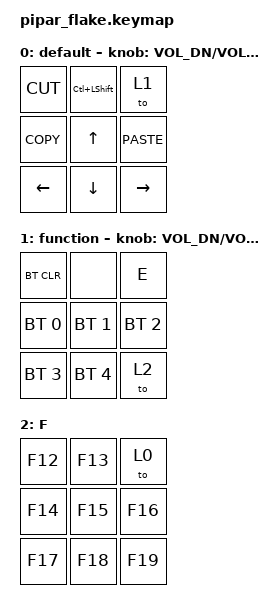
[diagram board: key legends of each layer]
/*
 * Copyright (c) 2022 The ZMK Contributors
 *
 * SPDX-License-Identifier: MIT
 */

#include <behaviors.dtsi>
#include <dt-bindings/zmk/bt.h>
#include <dt-bindings/zmk/keys.h>

#define BASE        0
#define FUNC        1

/ {
    sensors: sensors {
        compatible = "zmk,keymap-sensors";
        sensors = <&encoder_1>;
        triggers-per-rotation = <24>;
    };

    keymap {
        compatible = "zmk,keymap";

        default_layer {
            // ---------------------------//
            // | Q    | W     | ENCODER | //
            // | A    | S     | D       | //
            // | Z    | X     | FN      | //

            display-name = "default";
            bindings = <
&kp K_CUT   &kp LC(LEFT_SHIFT)  &to 1
&kp K_COPY  &kp UP              &kp K_PASTE
&kp LEFT    &kp DOWN            &kp RIGHT
            >;

            sensor-bindings = <&inc_dec_kp C_VOL_DN C_VOL_UP>;
        };

        function_layer {
            // --------------------------- //
            // | BT_CLR | none | ENCODER | //
            // | BT_0   | BT_1 | BT_2    | //
            // | BT_3   | BT_4 | trans   | //

            display-name = "function";
            bindings = <
&bt BT_CLR    &none         &kp E
&bt BT_SEL 0  &bt BT_SEL 1  &bt BT_SEL 2
&bt BT_SEL 3  &bt BT_SEL 4  &to 2
            >;

            sensor-bindings = <&inc_dec_kp C_VOL_DN C_VOL_UP>;
        };

        layer_2 {
            bindings = <
&kp F12  &kp F13  &to 0
&kp F14  &kp F15  &kp F16
&kp F17  &kp F18  &kp F19
            >;

            label = "F";
        };
    };
};
